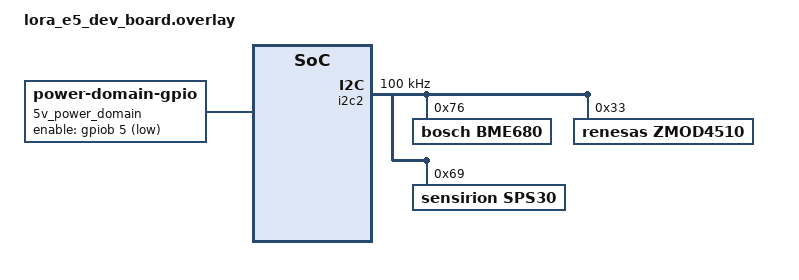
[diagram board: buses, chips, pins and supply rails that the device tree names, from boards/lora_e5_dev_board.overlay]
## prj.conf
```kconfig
# General
CONFIG_MAIN_STACK_SIZE=2048
CONFIG_SYSTEM_WORKQUEUE_STACK_SIZE=2048
CONFIG_NEWLIB_LIBC=y
CONFIG_NEWLIB_LIBC_FLOAT_PRINTF=y
CONFIG_CBPRINTF_FP_SUPPORT=y

# IO
CONFIG_I2C=y
CONFIG_SPI=y
CONFIG_GPIO=y
CONFIG_UART_ASYNC_API=y

# Logging
CONFIG_STDOUT_CONSOLE=y
CONFIG_LOG=y
CONFIG_ARCH_LOG_LEVEL_DBG=y
CONFIG_KERNEL_LOG_LEVEL_DBG=n
CONFIG_SENSOR_LOG_LEVEL_DBG=n

# Lora
CONFIG_LORA=y
CONFIG_LORA_SX12XX=y
CONFIG_LORAWAN=y
CONFIG_LORAMAC_REGION_US915=y

# Sensors
CONFIG_SENSOR=n
CONFIG_SPS30=y
CONFIG_BME680=y
CONFIG_ZMOD4510=y

# Power Management
CONFIG_PM=y
CONFIG_PM_DEVICE=y
CONFIG_POWER_DOMAIN=y
CONFIG_PM_DEVICE_POWER_DOMAIN=y
CONFIG_PM_DEVICE_RUNTIME=y
CONFIG_POWER_DOMAIN_GPIO=y

# Shell
CONFIG_PRINTK=y
CONFIG_SHELL=y
CONFIG_INIT_STACKS=y
CONFIG_THREAD_STACK_INFO=y
CONFIG_KERNEL_SHELL=y
CONFIG_THREAD_MONITOR=y
CONFIG_BOOT_BANNER=n
CONFIG_THREAD_NAME=y
CONFIG_DEVICE_SHELL=y
CONFIG_POSIX_CLOCK=y
CONFIG_DATE_SHELL=y
CONFIG_THREAD_RUNTIME_STATS=y
CONFIG_THREAD_RUNTIME_STATS_USE_TIMING_FUNCTIONS=y
CONFIG_STATS=y
CONFIG_SENSOR_SHELL=n
CONFIG_CUSTOM_SENSOR_SHELL=y
```

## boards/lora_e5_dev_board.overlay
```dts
usb_wakeup: &user_button {};

/ {
  pwr_5v_domain: pwr_5v_domain {
    status = "okay";
    compatible = "power-domain-gpio";
    label = "5v_power_domain";
    enable-gpios = <&gpiob 5 GPIO_ACTIVE_LOW>;
  };
};

&i2c2 {
  clock-frequency = < 0x186a0 >;
  bme680: bme680@76 {
    compatible = "bosch,bme680";
    reg = <0x76>;
    label = "BME680";
    status="okay";
  };

  zmod4510: zmod4510@33 {
    compatible = "renesas,zmod4510";
    reg = <0x33>;
    label = "ZMOD4510";
    status="okay";
  };

  sps30: sps30@69 {
    compatible = "sensirion,sps30";
    reg = <0x69>;
    label = "SPS30";
    status="okay";
    power-domain = <&pwr_5v_domain>;
  };
};

&cpu0 {
	cpu-power-states = <&stop0>;
};

&gpioa {
  wakeup-source;
};

// vim: ft=dts
```

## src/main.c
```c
/*
 * Sandbox application to experiment with Zephyr and Aether features.
 *
 */

#include <zephyr.h>
#include <device.h>
#include <drivers/gpio.h>
//#include <drivers/power_domain.h>
#include <logging/log.h>
#include <stdio.h>
#include <stdlib.h>
#include <stdint.h>
#include <pm/device.h>
#include <pm/device_runtime.h>

//LOG_MODULE_REGISTER(sandbox);
LOG_MODULE_REGISTER(power_domain_gpios, LOG_LEVEL_INF);

#define PWR_5V_DOMAIN DT_NODELABEL(pwr_5v_domain)

static int dev_init(const struct device *dev)
{
    int ret;
    /* enable device runtime power management */
    ret = pm_device_runtime_enable(dev);
    if ((ret < 0) && (ret != -ENOSYS)) {
        return ret;
    }
	return 0;
}

static int domain_pm_action(const struct device *dev,
	enum pm_device_action action)
{
	int rc = 0;

	switch (action) {
	case PM_DEVICE_ACTION_RESUME:
		/* Switch power on */
		pm_device_children_action_run(dev, PM_DEVICE_ACTION_TURN_ON, NULL);
    printk("domain resume");
		break;
	case PM_DEVICE_ACTION_SUSPEND:
		pm_device_children_action_run(dev, PM_DEVICE_ACTION_TURN_OFF, NULL);
    printk("domain suspend");
		break;
	case PM_DEVICE_ACTION_TURN_ON:
    printk("domain turn on");
		break;
	case PM_DEVICE_ACTION_TURN_OFF:
    printk("domain turn off");
		break;
	default:
		rc = -ENOTSUP;
	}

	return rc;
}

void main() {
  int ret;

  
  static const struct device *pwr_5v_domain = DEVICE_DT_GET(DT_NODELABEL(pwr_5v_domain));

  pm_device_runtime_enable(pwr_5v_domain);

  // Device should be suspended now

  while (1) {
    pm_device_action_run(pwr_5v_domain, PM_DEVICE_ACTION_RESUME);
    k_msleep(1000);
    pm_device_action_run(pwr_5v_domain, PM_DEVICE_ACTION_SUSPEND);
    k_msleep(1000);
  }
}
```
